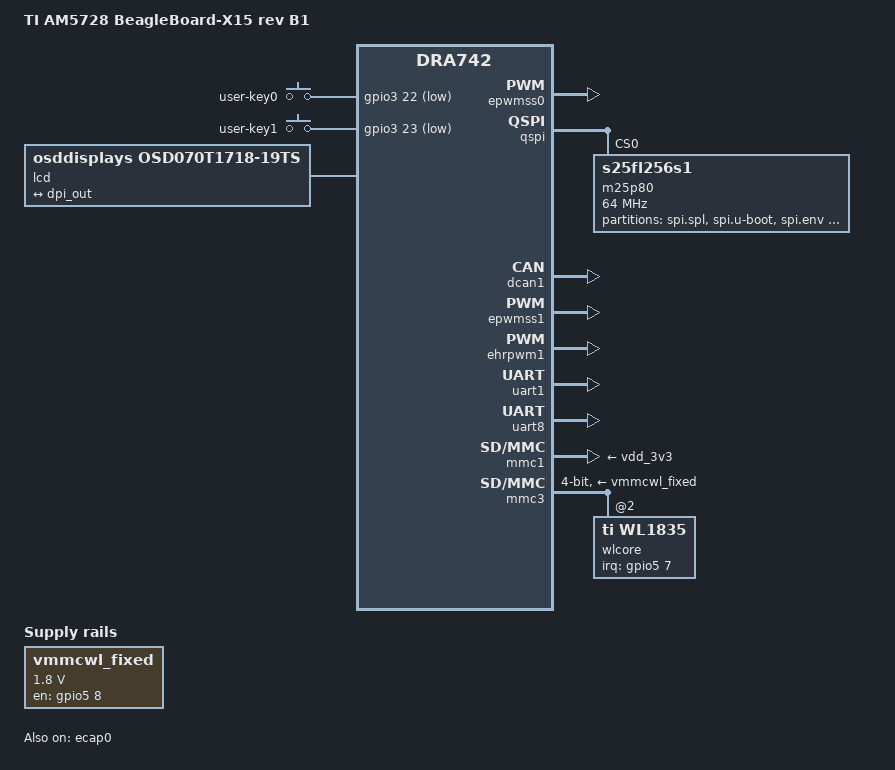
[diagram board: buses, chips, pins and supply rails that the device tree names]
/*
 * Copyright (C) 2015-2016 Texas Instruments Incorporated - http://www.ti.com/
 *
 * This program is free software; you can redistribute it and/or modify
 * it under the terms of the GNU General Public License version 2 as
 * published by the Free Software Foundation.
 */

#include "am57xx-beagle-x15-common.dtsi"
#include "am57xx-evm-cmem.dtsi"
#include "am57xx-industrial-grade.dtsi"
#include <dt-bindings/gpio/gpio.h>
#include <dt-bindings/input/input.h>

/ {
	model = "TI AM5728 BeagleBoard-X15 rev B1";
	compatible = "ti,am5728-evm", "ti,am572x-beagle-x15", "ti,am5728", "ti,dra742", "ti,dra74", "ti,dra7";

	gpio_keys {
		compatible = "gpio-keys";
		pinctrl-names = "default";
		pinctrl-0 = <&buttons_pins_default>;
		#address-cells = <1>;
		#size-cells = <0>;
		autorepeat;

		USER1 {
			label = "user-key0";
			linux,code = <KEY_PROG1>;
			gpios = <&gpio3 22 GPIO_ACTIVE_LOW>;
			debounce-interval = <0>;
		};

		USER2 {
			label = "user-key1";
			linux,code = <KEY_PROG2>;
			gpios = <&gpio3 23 GPIO_ACTIVE_LOW>;
			debounce-interval = <0>;
		};
	};

	aliases {
		display0 = &lcd0;
		display1 = &hdmi0;
	};

	lcd0: display {
		compatible = "osddisplays,osd070t1718-19ts", "panel-dpi";

		label = "lcd";

		port {
			lcd_in: endpoint {
				remote-endpoint = <&dpi_out>;
			};
		};
	};

	vmmcwl_fixed: fixedregulator-mmcwl {
		compatible = "regulator-fixed";
		regulator-name = "vmmcwl_fixed";
		regulator-min-microvolt = <1800000>;
		regulator-max-microvolt = <1800000>;
		gpio = <&gpio5 8 GPIO_ACTIVE_HIGH>;
		enable-active-high;
	};
};

&dra7_pmx_core {
	buttons_pins_default: buttons_pins_default {
		pinctrl-single,pins = <
			0x13c (PIN_INPUT_PULLUP | MUX_MODE14) /* vin1a_d18.gpio3_22 (AE5) */
			0x140 (PIN_INPUT_PULLUP | MUX_MODE14) /* vin1a_d19.gpio3_23 (AE1) */
		>;
	};

	ehrpwm0_pins: ehrpwm0_pins {
		pinctrl-single,pins = <
			DRA7XX_CORE_IOPAD(0x3500, (PIN_OUTPUT | MUX_MODE10)) /* vin1a_d3.eCAP1_in_PWM1_out (AH6) */
		>;
	};

	qspi1_pins_default: qspi1_pins_default {
		pinctrl-single,pins = <
			DRA7XX_CORE_IOPAD(0x3488, (PIN_INPUT_PULLUP | MUX_MODE1)) /* gpmc_a18.qspi1_sclk */
			DRA7XX_CORE_IOPAD(0x3474, (PIN_INPUT_PULLUP | MUX_MODE1)) /* gpmc_a13.qspi1_rtclk */
			DRA7XX_CORE_IOPAD(0x3480, (PIN_INPUT_PULLUP | MUX_MODE1)) /* gpmc_a16.qspi1_d0 */
			DRA7XX_CORE_IOPAD(0x3484, (PIN_INPUT_PULLUP | MUX_MODE1)) /* gpmc_a17.qspi1_d1 */
			DRA7XX_CORE_IOPAD(0x347c, (PIN_INPUT_PULLUP | MUX_MODE1)) /* gpmc_a15.qspi1_d2 */
			DRA7XX_CORE_IOPAD(0x3478, (PIN_INPUT_PULLUP | MUX_MODE1)) /* gpmc_a14.qspi1_d3 */
			DRA7XX_CORE_IOPAD(0x34b8, (PIN_INPUT_PULLUP | MUX_MODE1)) /* gpmc_cs2.qspi1_cs0 */
		>;
	};

	uart1_pins_default: uart1_pins_default {
		pinctrl-single,pins = <
			DRA7XX_CORE_IOPAD(0x37e0, (PIN_INPUT_PULLUP | MUX_MODE0)) /* uart1_rxd.uart1_rxd */
			DRA7XX_CORE_IOPAD(0x37e4, (PIN_INPUT_PULLUP | MUX_MODE0)) /* uart1_txd.uart1_txd */
		>;
	};

	dcan1__pins_default: dcan1_pins_default {
		pinctrl-single,pins = <
			DRA7XX_CORE_IOPAD(0x37d0, (PIN_INPUT_PULLUP | MUX_MODE0))   /* dcan1_tx.tx */
			DRA7XX_CORE_IOPAD(0x37d4, (PIN_INPUT_PULLUP | MUX_MODE0))   /* dcan1_rx.rx */
		>;
	};

	i2c5_pins_default: i2c5_pins_default {
		pinctrl-single,pins = <
			DRA7XX_CORE_IOPAD(0x36b4, (PIN_INPUT_PULLUP | MUX_MODE10))   /* mcasp1_axr1.i2c5_scl */
			DRA7XX_CORE_IOPAD(0x36b8, (PIN_INPUT_PULLUP | MUX_MODE10))   /* mcasp1_axr0.i2c5_sda */
		>;
	};
};

&dss {
	ports {
		#address-cells = <1>;
		#size-cells = <0>;

		port {
			reg = <0>;

			dpi_out: endpoint {
				remote-endpoint = <&lcd_in>;
				data-lines = <24>;
			};
		};
	};
};

&epwmss0 {
	status = "okay";
};

&ecap0 {
	status = "okay";
};

&qspi {
	status = "okay";

	pinctrl-names = "default";
	pinctrl-0 = <&qspi1_pins_default>;

	spi-max-frequency = <64000000>;

	m25p80@0 {
		compatible = "s25fl256s1";
		spi-max-frequency = <64000000>;
		reg = <0>;
		spi-tx-bus-width = <1>;
		spi-rx-bus-width = <4>;
		#address-cells = <1>;
		#size-cells = <1>;

		/*
		 * MTD partition table.
		 */

		partition@0 {
			label = "spi.spl";
			reg = <0x00000000 0x00020000>;	/* 128KB */
		};

		partition@1 {
			label = "spi.u-boot";
			reg = <0x00020000 0x00080000>;	/* 512KB */
		};

		partition@2 {
			label = "spi.env";
			reg = <0x000a0000 0x00040000>; /* 256KB */
		};
		partition@3 {
			label = "spi.devicetree";
			reg = <0x000e0000 0x00080000>; /* 512KB */
		};
		partition@4 {
			label = "spi.kernel";
			reg = <0x00160000 0x00800000>; /* 8MB */
		};
		partition@5 {
			label = "spi.user-data";
			reg = <0x00960000 0x00000000>; /* 21.87MB */
		};
	};
};

&dcan1 {
	status = "okay";
	pinctrl-names = "default";
	pinctrl-0 = <&dcan1__pins_default>;
};

&epwmss1 {
	status = "okay";
};

&ehrpwm1 {
	status = "okay";
};

&uart1 {
	status = "okay";
	pinctrl-names = "default";
	pinctrl-0 = <&uart1_pins_default>;

	interrupts-extended = <&crossbar_mpu GIC_SPI 67 IRQ_TYPE_LEVEL_HIGH>,
			<&dra7_pmx_core 0x3e0>;
};

&uart8 {
	status = "okay";
};

&tpd12s015 {
	gpios = <&gpio7 10 GPIO_ACTIVE_HIGH>,   /* gpio7_10, CT CP HPD */
		<&gpio2 30 GPIO_ACTIVE_HIGH>,   /* gpio2_30, LS OE */
		<&gpio7 12 GPIO_ACTIVE_HIGH>;   /* gpio7_12/sp1_cs2, HPD */
};

&mmc1 {
	vmmc-supply = <&vdd_3v3>;
	vmmc_aux-supply = <&ldo1_reg>;
};

&mmc3 {
	status = "okay";
	vmmc-supply = <&vmmcwl_fixed>;
	bus-width = <4>;
	pinctrl-names = "default";
	cap-power-off-card;
	keep-power-in-suspend;
	ti,non-removable;

	#address-cells = <1>;
	#size-cells = <0>;
	wlcore: wlcore@2 {
		compatible = "ti,wl1835";
		reg = <2>;
		interrupt-parent = <&gpio5>;
		interrupts = <7 IRQ_TYPE_LEVEL_HIGH>;
	};
};

/* errata i880 "Ethernet RGMII2 Limited to 10/100 Mbps" */
&phy1 {
	max-speed = <1000>;
};
